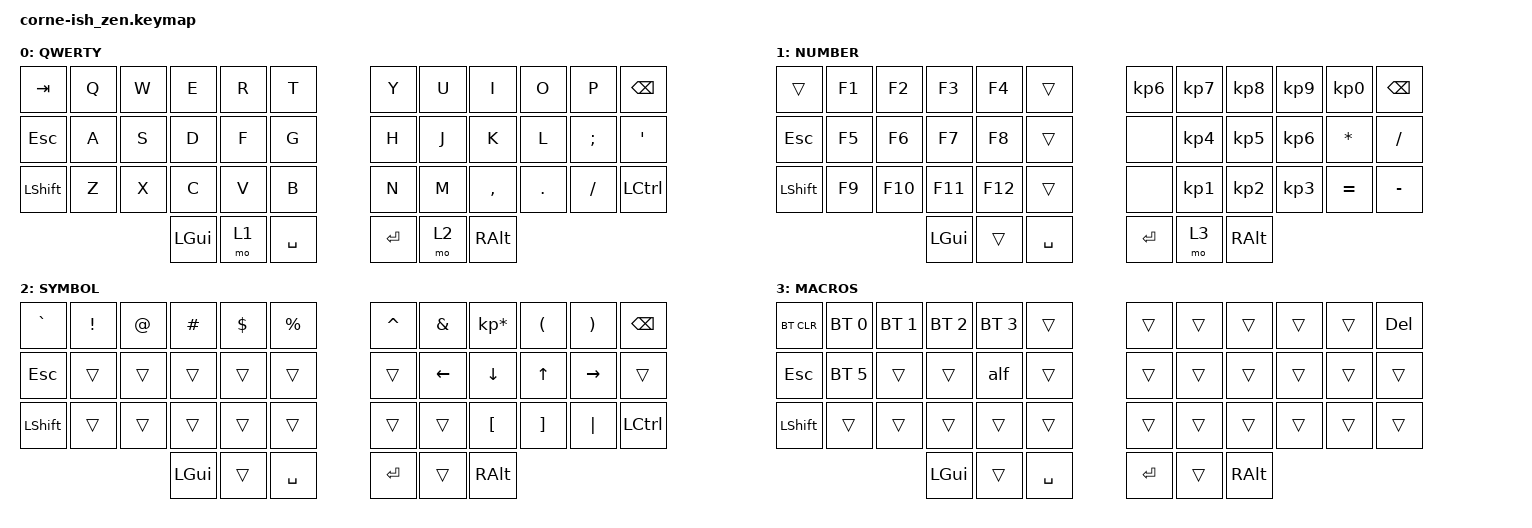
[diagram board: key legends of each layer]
/*
*
* Copyright (c) 2021 Darryl deHaan
* SPDX-License-Identifier: MIT
*
*/

#include <behaviors.dtsi>
#include <dt-bindings/zmk/keys.h>
#include <dt-bindings/zmk/bt.h>

#define QWERTY 0
#define NUMBER 1
#define SYMBOL 2
#define MACROS 3

/ {
        macros {
            pone: pone {
                label = "ZM_pone";
                compatible = "zmk,behavior-macro";
                #binding-cells = <0>;
                bindings =
                    <&macro_tap &kp Z &kp M &kp K>
                    ;
            };
            ptwo: ptwo {
                label = "ZM_ptwo";
                compatible = "zmk,behavior-macro";
                #binding-cells = <0>;
                bindings =
                    <&macro_tap &kp Z &kp M &kp K>
                    ;
            };
            slf: slf {
                label = "ZM_slf";
                compatible = "zmk,behavior-macro";
                #binding-cells = <0>;
                bindings =
                    <&macro_tap &kp Z &kp M &kp K>
                    ;
            };
            srt: srt {
                label = "ZM_srt";
                compatible = "zmk,behavior-macro";
                #binding-cells = <0>;
                bindings =
                    <&macro_tap &kp Z &kp M &kp K>
                    ;
            };
            sgrb: sgrb {
                label = "ZM_sgrb";
                compatible = "zmk,behavior-macro";
                #binding-cells = <0>;
                bindings =
                    <&macro_tap &kp Z &kp M &kp K>
                    ;
            };
            alf: alf {
                label = "ZM_alf";
                compatible = "zmk,behavior-macro";
                #binding-cells = <0>;
                bindings =
                    <&macro_tap &kp Z &kp M &kp K>
                    ;
            };
        };
 };


/ {
        keymap {
                compatible = "zmk,keymap";

                default_layer {
                        label = "QWERTY";
// -----------------------------------------------------------------------------------------
// | TAB  |  Q  |  W  |  E  |  R  |  T  |   |  Y  |  U   |  I  |  O  |  P  | BKSP |
// | ESC  |  A  |  S  |  D  |  F  |  G  |   |  H  |  J   |  K  |  L  |  ;  |  '   |
// | SHFT |  Z  |  X  |  C  |  V  |  B  |   |  N  |  M   |  ,  |  .  |  /  | CTRL |
//                    | GUI | LWR | SPC |   | ENT | RSE  | ALT |
                        bindings = <
   &kp TAB    &kp Q &kp W &kp E &kp R &kp T   &kp Y &kp U  &kp I     &kp O   &kp P    &kp BKSP
   &kp ESCAPE &kp A &kp S &kp D &kp F &kp G   &kp H &kp J  &kp K     &kp L   &kp SEMI &kp SQT
   &kp LSHFT  &kp Z &kp X &kp C &kp V &kp B   &kp N &kp M  &kp COMMA &kp DOT &kp FSLH &kp LCTRL
                  &kp LGUI &mo 1 &kp SPACE   &kp RET &mo 2 &kp RALT
                        >;
                };
                lower_layer {
                        label = "NUMBER";
// -----------------------------------------------------------------------------------------
// |      |  F1 |  F2 | F3  |  F4 |     |    |  |  7  |  8  |  9  |  0 |  BKSP  |
// | ESC  |  F5 |  F6 | F7  | F8  |     |    |  |  4  |  5  |  6  |  * |    /   |
// | SHFT |  F9 | F10 | F11 | F12 |     |    |  |  1  |  2  |  3  |  = |    -   |
//                    | GUI |     | SPC |    |  | ENT |     | ALT |
                        bindings = <
   &trans     &kp F1  &kp F2  &kp F3  &kp F4   &trans    &kp KP_N6  &kp KP_N7 &kp KP_N8 &kp KP_N9  &kp KP_N0 &kp BKSP
   &kp ESCAPE &kp F5  &kp F6  &kp F7  &kp F8   &trans    &none      &kp KP_N4 &kp KP_N5 &kp KP_N6  &kp STAR  &kp FSLH
   &kp LSHFT  &kp F9  &kp F10 &kp F11 &kp F12  &trans    &none     &kp KP_N1 &kp KP_N2 &kp KP_N3  &kp EQUAL &kp MINUS
                   &kp LGUI  &trans  &kp SPACE           &kp RET  &mo 3  &kp RALT
                        >;
                };

                raise_layer {
                        label = "SYMBOL";
// -----------------------------------------------------------------------------------------
// |  `   |  !  |  @  |  #  |  $  |  %  |   |  ^  |  &   |  *  |  (  |  )  | BKSP |
// | ESC  |     |     |     |     |     |   |     |  LFT | DWN |  UP | RGT |      |
// | SHFT |     |     |     |     |     |   |     |      |  {  |  }  | "|" | CTRL |
//                    | GUI |     | SPC |   | ENT |      | ALT |
                        bindings = <
   &kp GRAVE &kp EXCL &kp AT &kp HASH &kp DLLR &kp PRCNT   &kp CARET &kp AMPS &kp KP_MULTIPLY &kp LPAR &kp RPAR  &kp BSPC
   &kp ESC   &trans   &trans &trans   &trans   &trans      &trans    &kp LEFT &kp DOWN        &kp UP   &kp RIGHT &trans
   &kp LSHFT &trans   &trans &trans   &trans   &trans      &trans    &trans   &kp LBKT        &kp RBKT &kp PIPE  &kp LCTRL
                    	     &kp LGUI &trans   &kp SPACE   &kp RET   &trans   &kp RALT
                        >;
                };
                macros_layer {
                        label = "MACROS";
// -----------------------------------------------------------------------------------------
// | BTCLR | BT1 | BT2 | BT3 | BT4 | pone |   | ptwo |     |   |   |     | DEL |
// | ESC   |     |     |     | alf |      |   |      | slf |   |   | srt |     |
// | SHFT  |     |     |     |     | sgrb |   |      |     |   |   |     |     |
//                     | GUI |     | SPC  |   | ENT  |     | ALT |
                        bindings = <
   &bt BT_CLR &bt BT_SEL 0 &bt BT_SEL 1 &bt BT_SEL 2 &bt BT_SEL 3  &trans      &trans &trans &trans &trans &trans &kp DEL
   &kp ESC    &bt BT_SEL 5 &trans       &trans       &alf        &trans      &trans &trans &trans &trans &trans &trans
   &kp LSHFT  &trans       &trans       &trans       &trans        &trans      &trans &trans &trans &trans &trans &trans
                        &kp LGUI     &trans       &kp SPACE        &kp RET  &trans   &kp RALT
                        >;
                };
        };
};
